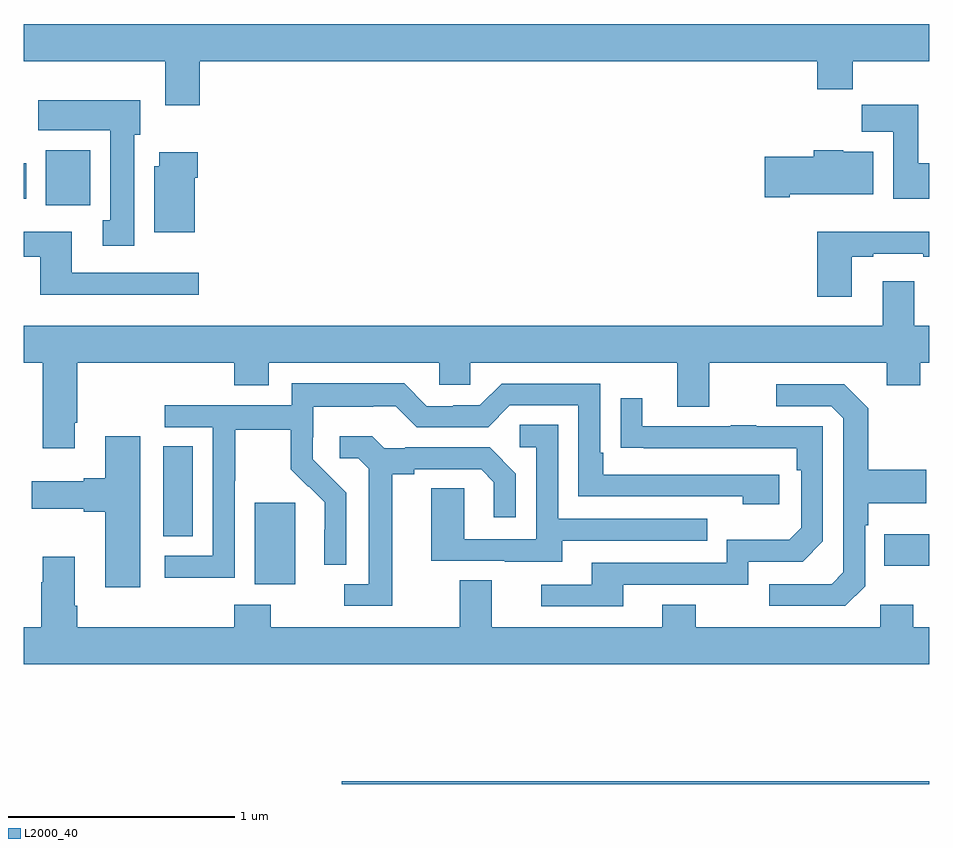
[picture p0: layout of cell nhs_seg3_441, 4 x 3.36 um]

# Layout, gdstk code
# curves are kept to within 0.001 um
import gdstk
lib = gdstk.Library(unit=1e-6, precision=1e-09)
def R(c, l, rs):  # rectangles x0, y0, x1, y1
    for r in rs: c.add(gdstk.rectangle(r[:2], r[2:], *l))
def P(c, l, *ps):  # polygons
    for p in ps: c.add(gdstk.Polygon(p, *l))
L2000_40 = (2000, 40)

nhs_seg3_441 = lib.new_cell('nhs_seg3_441')
R(nhs_seg3_441, L2000_40, [(134.405,688.4,137,688.412), (134.021,689.282,134.2,689.643), (136.801,689.363,137,689.503), (133.616,689.494,133.747,689.891), (133.097,690.956,133.294,691.198), (133,690.984,133.012,691.14)])
P(nhs_seg3_441, L2000_40, [(133.778,691.592),(136.505,691.592),(136.505,691.468),(136.661,691.468),(136.661,691.592),(137,691.592),(137,691.756),(133,691.756),(133,691.592),(133.625,691.592),(133.625,691.398),(133.778,691.398)],
  [(133.489,691.266),(133.516,691.266),(133.516,691.42),(133.065,691.42),(133.065,691.286),(133.382,691.286),(133.382,690.89),(133.349,690.89),(133.349,690.777),(133.489,690.777)],
  [(137,691.14),(136.951,691.14),(136.951,691.399),(136.702,691.399),(136.702,691.28),(136.841,691.28),(136.841,690.984),(137,690.984)],
  [(136.384,691.004),(136.753,691.004),(136.753,691.192),(136.62,691.192),(136.62,691.198),(136.49,691.198),(136.49,691.17),(136.272,691.17),(136.272,690.992),(136.384,690.992)],
  [(133.756,691.076),(133.769,691.076),(133.769,691.189),(133.598,691.189),(133.598,691.128),(133.577,691.128),(133.577,690.836),(133.756,690.836)],
  [(136.657,690.729),(136.753,690.729),(136.753,690.741),(136.973,690.741),(136.973,690.729),(137,690.729),(137,690.838),(136.505,690.838),(136.505,690.552),(136.657,690.552)],
  [(133.774,690.657),(133.213,690.657),(133.213,690.838),(133,690.838),(133,690.729),(133.073,690.729),(133.073,690.56),(133.774,690.56)],
  [(133.225,689.995),(133.238,689.995),(133.238,690.26),(133.931,690.26),(133.931,690.161),(134.083,690.161),(134.083,690.26),(134.835,690.26),(134.835,690.162),(134.973,690.162),(134.973,690.26),(135.887,690.26),(135.887,690.066),(136.027,690.066),(136.027,690.26),(136.811,690.26),(136.811,690.161),(136.959,690.161),(136.959,690.26),(137,690.26),(137,690.424),(136.933,690.424),(136.933,690.619),(136.793,690.619),(136.793,690.424),(133,690.424),(133,690.26),(133.085,690.26),(133.085,689.883),(133.225,689.883)],
  [(133.932,689.74),(133.935,689.74),(133.935,689.964),(134.179,689.964),(134.179,689.789),(134.256,689.712),(134.259,689.715),(134.33,689.645),(134.33,689.522),(134.328,689.522),(134.328,689.368),(134.424,689.368),(134.424,689.686),(134.278,689.834),(134.278,689.931),(134.28,689.931),(134.28,690.065),(134.543,690.065),(134.543,690.069),(134.643,690.069),(134.736,689.976),(135.051,689.976),(135.147,690.072),(135.45,690.072),(135.45,689.67),(136.175,689.67),(136.175,689.636),(136.336,689.636),(136.336,689.766),(135.559,689.766),(135.559,689.863),(135.546,689.863),(135.546,690.168),(135.111,690.168),(135.015,690.072),(134.897,690.072),(134.897,690.069),(134.781,690.069),(134.681,690.169),(134.184,690.169),(134.184,690.072),(133.623,690.072),(133.623,689.976),(133.836,689.976),(133.836,689.409),(133.623,689.409),(133.623,689.311),(133.932,689.311)],
  [(136.716,689.274),(136.716,689.543),(136.729,689.543),(136.729,689.639),(136.985,689.639),(136.985,689.787),(136.729,689.787),(136.729,690.059),(136.623,690.165),(136.323,690.165),(136.323,690.069),(136.566,690.069),(136.62,690.015),(136.62,689.334),(136.569,689.283),(136.293,689.283),(136.293,689.187),(136.629,689.187)],
  [(135.649,689.28),(136.2,689.28),(136.2,689.382),(136.44,689.382),(136.53,689.472),(136.53,689.979),(136.235,689.979),(136.235,689.984),(136.123,689.984),(136.123,689.979),(135.733,689.979),(135.733,690.103),(135.637,690.103),(135.637,689.884),(136.414,689.883),(136.414,689.786),(136.434,689.786),(136.434,689.532),(136.381,689.479),(136.104,689.479),(136.104,689.376),(135.509,689.376),(135.509,689.28),(135.285,689.28),(135.285,689.184),(135.649,689.184)],
  [(135.379,689.475),(136.019,689.475),(136.019,689.571),(135.36,689.571),(135.36,689.987),(135.192,689.987),(135.192,689.886),(135.264,689.886),(135.264,689.481),(134.946,689.481),(134.946,689.705),(134.801,689.705),(134.801,689.385),(135.125,689.385),(135.125,689.381),(135.379,689.381)],
  [(134.629,689.768),(134.725,689.768),(134.725,689.79),(135.02,689.79),(135.077,689.733),(135.077,689.577),(135.174,689.577),(135.174,689.77),(135.058,689.886),(134.686,689.886),(134.686,689.883),(134.592,689.883),(134.54,689.935),(134.397,689.935),(134.397,689.838),(134.478,689.838),(134.525,689.791),(134.525,689.283),(134.415,689.283),(134.415,689.187),(134.629,689.187)],
  [(133.516,689.935),(133.361,689.935),(133.361,689.75),(133.265,689.75),(133.265,689.737),(133.035,689.737),(133.035,689.615),(133.265,689.615),(133.265,689.603),(133.361,689.603),(133.361,689.268),(133.516,689.268)],
  [(137,689.092),(136.929,689.092),(136.929,689.191),(136.782,689.191),(136.782,689.092),(135.969,689.092),(135.969,689.191),(135.821,689.191),(135.821,689.092),(135.067,689.092),(135.067,689.3),(134.927,689.3),(134.927,689.092),(134.091,689.092),(134.091,689.191),(133.931,689.191),(133.931,689.092),(133.238,689.092),(133.238,689.188),(133.225,689.188),(133.225,689.404),(133.085,689.404),(133.085,689.291),(133.078,689.291),(133.078,689.092),(133,689.092),(133,688.928),(137,688.928)])

lib.write_gds('nhs_seg3_441.gds')
